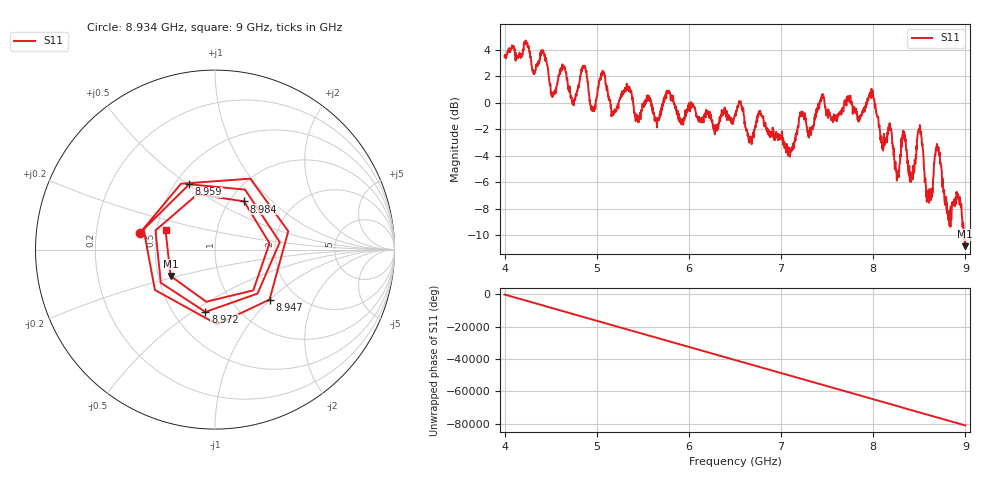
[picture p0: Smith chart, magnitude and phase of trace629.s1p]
! Created with skrf 1.8.0 (http://scikit-rf.org).
# Hz S RI R 50.0
!freq ReS11 ImS11
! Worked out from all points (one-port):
!   1601 points, 4 GHz to 9 GHz, reference 50 ohm
!   lowest |S11| = -10.8 dB at 8.997 GHz (marker M1), VSWR 1.81, Z = 29.1 - j9.31 ohm
!   |S11| at or under -10 dB: 8.983151 GHz to end of sweep
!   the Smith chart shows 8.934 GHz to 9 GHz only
!   S11 on the Smith chart (normalised r, x): 8.934 GHz: 0.40, +0.09; 8.947 GHz: 1.48, -0.99; 8.959 GHz: 0.59, +0.51; 8.972 GHz: 0.71, -0.56; 8.984 GHz: 1.16, +0.69; 9 GHz: 0.56, +0.13
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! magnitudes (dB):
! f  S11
! 4 GHz  3.5
! 4.412 GHz  3.8
! 4.528 GHz  0.7
! 4.625 GHz  2.8
! 4.741 GHz  0.1
! 4.859 GHz  2.7
! 4.953 GHz  -0.4
! 5.066 GHz  2.4
! 5.25 GHz  0.3
! 5.875 GHz  -0.8
! 6.5 GHz  -0.8
! 7.125 GHz  -3.3
! 7.75 GHz  0.6
! 7.988 GHz  0.6
! 8.256 GHz  -5.9
! 8.328 GHz  -2.2
! 8.375 GHz  -4.4
! 8.5 GHz  -2.0
! 8.6 GHz  -6.6
! 8.697 GHz  -3.4
! 8.822 GHz  -8.9
! 8.934 GHz  -7.3
! 8.947 GHz  -7.7
! 8.959 GHz  -8.2
! 8.972 GHz  -9.1
! 8.984 GHz  -10.1
! 8.997 GHz  -10.8
! 9 GHz  -10.6
